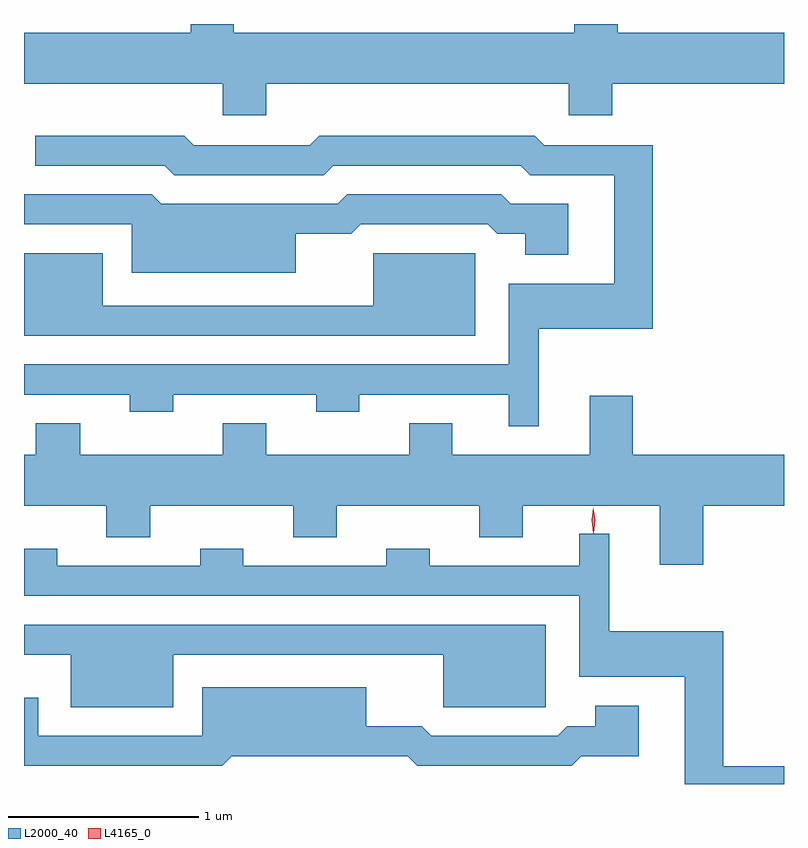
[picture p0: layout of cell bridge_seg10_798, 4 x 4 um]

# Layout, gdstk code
import gdstk
lib = gdstk.Library(unit=1e-6, precision=1e-09)
def P(c, l, *ps):  # polygons
    for p in ps: c.add(gdstk.Polygon(p, *l))
L2000_40 = (2000, 40)
L4165_0 = (4165, 0)

bridge_seg10_798 = lib.new_cell('bridge_seg10_798')
P(bridge_seg10_798, L2000_40, [(400.679,2196.056),(402.271,2196.056),(402.271,2195.891),(402.499,2195.891),(402.499,2196.056),(403.404,2196.056),(403.404,2196.324),(402.529,2196.324),(402.529,2196.371),(402.301,2196.371),(402.301,2196.324),(400.509,2196.324),(400.509,2196.371),(400.281,2196.371),(400.281,2196.324),(399.404,2196.324),(399.404,2196.056),(400.451,2196.056),(400.451,2195.891),(400.679,2195.891)],
  [(402.114,2194.766),(402.714,2194.766),(402.714,2195.734),(402.142,2195.734),(402.092,2195.784),(400.959,2195.784),(400.909,2195.734),(400.297,2195.734),(400.247,2195.784),(399.463,2195.784),(399.463,2195.626),(400.144,2195.626),(400.194,2195.576),(400.982,2195.576),(401.032,2195.626),(402.019,2195.626),(402.069,2195.576),(402.511,2195.576),(402.511,2195.004),(401.956,2195.004),(401.956,2194.579),(399.404,2194.579),(399.404,2194.421),(399.961,2194.421),(399.961,2194.331),(400.189,2194.331),(400.189,2194.421),(400.941,2194.421),(400.941,2194.331),(401.169,2194.331),(401.169,2194.421),(401.956,2194.421),(401.956,2194.253),(402.114,2194.253)],
  [(400.834,2195.266),(401.127,2195.266),(401.177,2195.316),(401.844,2195.316),(401.894,2195.266),(402.041,2195.266),(402.041,2195.156),(402.269,2195.156),(402.269,2195.424),(401.967,2195.424),(401.917,2195.474),(401.104,2195.474),(401.054,2195.424),(400.127,2195.424),(400.077,2195.474),(399.404,2195.474),(399.404,2195.316),(399.971,2195.316),(399.971,2195.061),(400.834,2195.061)],
  [(401.779,2195.164),(401.241,2195.164),(401.241,2194.889),(399.819,2194.889),(399.819,2195.164),(399.404,2195.164),(399.404,2194.731),(401.779,2194.731)],
  [(402.979,2193.836),(403.404,2193.836),(403.404,2194.104),(402.609,2194.104),(402.609,2194.414),(402.381,2194.414),(402.381,2194.104),(401.659,2194.104),(401.659,2194.269),(401.431,2194.269),(401.431,2194.104),(400.679,2194.104),(400.679,2194.269),(400.451,2194.269),(400.451,2194.104),(399.699,2194.104),(399.699,2194.269),(399.466,2194.269),(399.466,2194.104),(399.404,2194.104),(399.404,2193.836),(399.836,2193.836),(399.836,2193.671),(400.069,2193.671),(400.069,2193.836),(400.821,2193.836),(400.821,2193.671),(401.049,2193.671),(401.049,2193.836),(401.801,2193.836),(401.801,2193.671),(402.029,2193.671),(402.029,2193.836),(402.751,2193.836),(402.751,2193.526),(402.979,2193.526)],
  [(403.404,2192.464),(403.084,2192.464),(403.084,2193.174),(402.484,2193.174),(402.484,2193.688),(402.326,2193.688),(402.326,2193.519),(401.539,2193.519),(401.539,2193.609),(401.311,2193.609),(401.311,2193.519),(400.559,2193.519),(400.559,2193.609),(400.331,2193.609),(400.331,2193.519),(399.579,2193.519),(399.579,2193.609),(399.404,2193.609),(399.404,2193.361),(402.326,2193.361),(402.326,2192.936),(402.881,2192.936),(402.881,2192.371),(403.404,2192.371)],
  [(400.189,2193.051),(401.611,2193.051),(401.611,2192.776),(402.149,2192.776),(402.149,2193.209),(399.404,2193.209),(399.404,2193.051),(399.651,2193.051),(399.651,2192.776),(400.189,2192.776)],
  [(400.497,2192.516),(401.424,2192.516),(401.474,2192.466),(402.287,2192.466),(402.337,2192.516),(402.639,2192.516),(402.639,2192.784),(402.411,2192.784),(402.411,2192.674),(402.264,2192.674),(402.214,2192.624),(401.547,2192.624),(401.497,2192.674),(401.204,2192.674),(401.204,2192.879),(400.341,2192.879),(400.341,2192.624),(399.479,2192.624),(399.479,2192.824),(399.404,2192.824),(399.404,2192.466),(400.447,2192.466)])
P(bridge_seg10_798, L4165_0, [(402.401,2193.692),(402.401,2193.692),(402.391,2193.759),(402.4,2193.825),(402.401,2193.825),(402.401,2193.825),(402.411,2193.759),(402.402,2193.692)])

lib.write_gds('bridge_seg10_798.gds')
